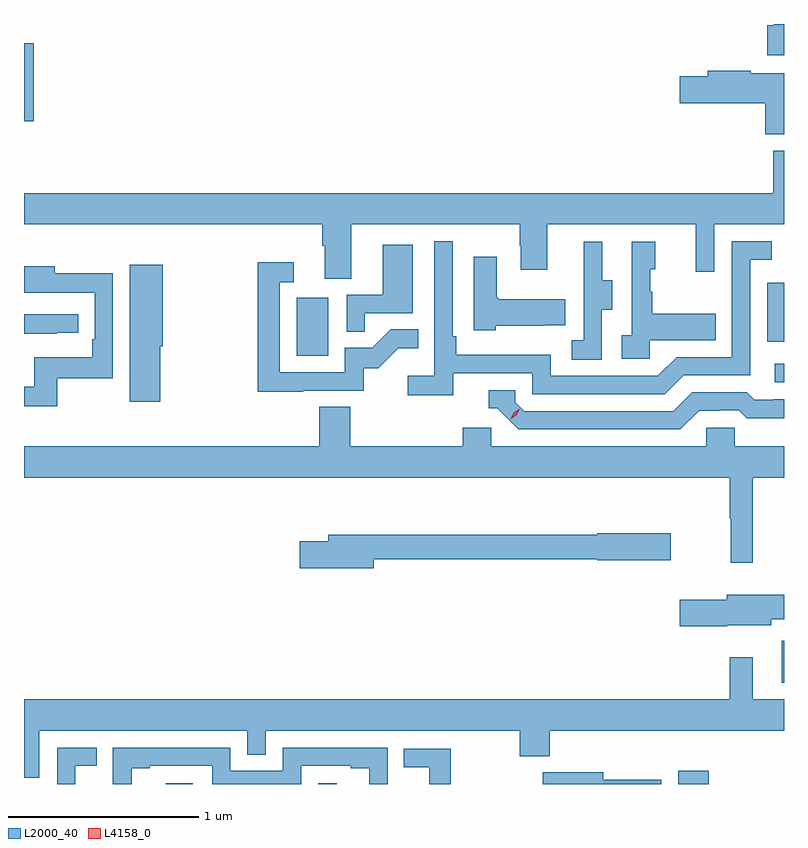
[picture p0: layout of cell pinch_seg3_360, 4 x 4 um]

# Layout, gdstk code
import gdstk
lib = gdstk.Library(unit=1e-6, precision=1e-09)
def R(c, l, rs):  # rectangles x0, y0, x1, y1
    for r in rs: c.add(gdstk.rectangle(r[:2], r[2:], *l))
def P(c, l, *ps):  # polygons
    for p in ps: c.add(gdstk.Polygon(p, *l))
L2000_40 = (2000, 40)
L4158_0 = (4158, 0)

pinch_seg3_360 = lib.new_cell('pinch_seg3_360')
R(pinch_seg3_360, L2000_40, [(970.267,704.631,970.411,704.635), (971.07,704.631,971.167,704.635), (972.965,704.631,973.126,704.701), (973.511,705.165,973.522,705.385), (973.473,706.746,973.522,706.842), (970.958,706.884,971.122,707.191), (973.434,706.959,973.522,707.268), (969.522,708.119,969.574,708.529)])
P(pinch_seg3_360, L2000_40, [(973.522,708.631),(973.468,708.631),(973.468,708.625),(973.434,708.625),(973.434,708.467),(973.522,708.467)],
  [(973.522,708.373),(973.346,708.373),(973.346,708.386),(973.121,708.386),(973.121,708.356),(972.972,708.356),(972.972,708.214),(973.424,708.214),(973.424,708.05),(973.522,708.05)],
  [(971.245,707.576),(972.13,707.576),(972.13,707.465),(972.137,707.465),(972.137,707.337),(972.277,707.337),(972.277,707.576),(973.058,707.576),(973.058,707.328),(973.155,707.328),(973.155,707.576),(973.522,707.576),(973.522,707.965),(973.465,707.965),(973.465,707.74),(969.522,707.74),(969.522,707.576),(971.093,707.576),(971.093,707.464),(971.105,707.464),(971.105,707.29),(971.245,707.29)],
  [(971.78,706.794),(972.198,706.794),(972.198,706.683),(972.895,706.683),(972.994,706.782),(973.344,706.782),(973.344,707.391),(973.457,707.391),(973.457,707.487),(973.248,707.487),(973.248,706.878),(972.957,706.878),(972.858,706.779),(972.294,706.779),(972.294,706.89),(971.798,706.89),(971.798,706.987),(971.778,706.987),(971.778,707.488),(971.682,707.488),(971.682,706.78),(971.541,706.78),(971.541,706.678),(971.78,706.678)],
  [(972.564,707.128),(972.619,707.128),(972.619,707.283),(972.565,707.283),(972.565,707.485),(972.467,707.485),(972.467,707.271),(972.468,707.271),(972.468,706.967),(972.405,706.967),(972.405,706.864),(972.564,706.864)],
  [(972.816,706.967),(973.163,706.967),(973.163,707.107),(972.829,707.107),(972.829,707.222),(972.819,707.222),(972.819,707.34),(972.844,707.34),(972.844,707.485),(972.72,707.485),(972.72,706.994),(972.669,706.994),(972.669,706.869),(972.816,706.869)],
  [(971.315,707.109),(971.569,707.109),(971.569,707.47),(971.411,707.47),(971.411,707.205),(971.22,707.205),(971.22,707.011),(971.315,707.011)],
  [(972.006,707.042),(972.263,707.042),(972.263,707.045),(972.371,707.045),(972.371,707.182),(972.018,707.182),(972.018,707.19),(972.01,707.19),(972.01,707.407),(971.888,707.407),(971.888,707.018),(972.006,707.018)],
  [(970.991,706.701),(971.31,706.701),(971.31,706.818),(971.386,706.818),(971.493,706.925),(971.597,706.925),(971.597,707.024),(971.453,707.024),(971.355,706.926),(971.211,706.926),(971.211,706.797),(970.869,706.797),(970.869,707.271),(970.942,707.271),(970.942,707.377),(970.753,707.377),(970.753,706.696),(970.991,706.696)],
  [(970.24,706.935),(970.252,706.935),(970.252,707.365),(970.079,707.365),(970.079,706.644),(970.24,706.644)],
  [(969.697,706.767),(969.99,706.767),(969.99,707.318),(969.685,707.318),(969.685,707.356),(969.522,707.356),(969.522,707.216),(969.581,707.216),(969.581,707.217),(969.894,707.217),(969.894,706.972),(969.881,706.972),(969.881,706.876),(969.576,706.876),(969.576,706.721),(969.522,706.721),(969.522,706.62),(969.697,706.62)],
  [(969.695,707.007),(969.808,707.007),(969.808,707.103),(969.522,707.103),(969.522,707.002),(969.695,707.002)],
  [(973.075,706.596),(973.182,706.596),(973.182,706.599),(973.285,706.599),(973.327,706.557),(973.522,706.557),(973.522,706.656),(973.465,706.656),(973.465,706.653),(973.366,706.653),(973.327,706.692),(973.038,706.692),(972.939,706.593),(972.156,706.593),(972.108,706.641),(972.108,706.704),(971.969,706.704),(971.969,706.608),(972.012,706.608),(972.123,706.497),(972.976,706.497)],
  [(973.236,706.028),(973.243,706.028),(973.243,705.795),(973.357,705.795),(973.357,706.244),(973.522,706.244),(973.522,706.408),(973.263,706.408),(973.263,706.506),(973.113,706.506),(973.113,706.408),(971.982,706.408),(971.982,706.506),(971.831,706.506),(971.831,706.408),(971.24,706.408),(971.24,706.616),(971.075,706.616),(971.075,706.408),(969.522,706.408),(969.522,706.244),(973.236,706.244)],
  [(971.362,705.814),(972.54,705.814),(972.54,705.809),(972.925,705.809),(972.925,705.951),(972.54,705.951),(972.54,705.943),(971.123,705.943),(971.123,705.909),(970.974,705.909),(970.974,705.767),(971.362,705.767)],
  [(973.224,705.467),(973.456,705.467),(973.456,705.499),(973.522,705.499),(973.522,705.628),(973.22,705.628),(973.22,705.602),(972.972,705.602),(972.972,705.46),(973.224,705.46)],
  [(969.603,704.912),(970.698,704.912),(970.698,704.785),(970.794,704.785),(970.794,704.912),(972.13,704.912),(972.13,704.777),(972.29,704.777),(972.29,704.912),(973.522,704.912),(973.522,705.076),(973.357,705.076),(973.357,705.298),(973.236,705.298),(973.236,705.076),(969.522,705.076),(969.522,704.664),(969.603,704.664)],
  [(969.792,704.727),(969.905,704.727),(969.905,704.823),(969.696,704.823),(969.696,704.631),(969.792,704.631)],
  [(970.088,704.715),(970.183,704.715),(970.183,704.727),(970.512,704.727),(970.512,704.631),(970.98,704.631),(970.98,704.727),(971.243,704.727),(971.243,704.715),(971.339,704.715),(971.339,704.631),(971.436,704.631),(971.436,704.823),(970.884,704.823),(970.884,704.7),(970.608,704.7),(970.608,704.823),(969.99,704.823),(969.99,704.631),(970.088,704.631)],
  [(971.767,704.817),(971.521,704.817),(971.521,704.72),(971.656,704.72),(971.656,704.631),(971.767,704.631)],
  [(972.876,704.654),(972.571,704.654),(972.571,704.692),(972.253,704.692),(972.253,704.631),(972.876,704.631)])
P(pinch_seg3_360, L4158_0, [(972.085,706.554),(972.085,706.554),(972.101,706.587),(972.132,706.607),(972.132,706.607),(972.132,706.607),(972.116,706.574),(972.086,706.554)])

lib.write_gds('pinch_seg3_360.gds')
